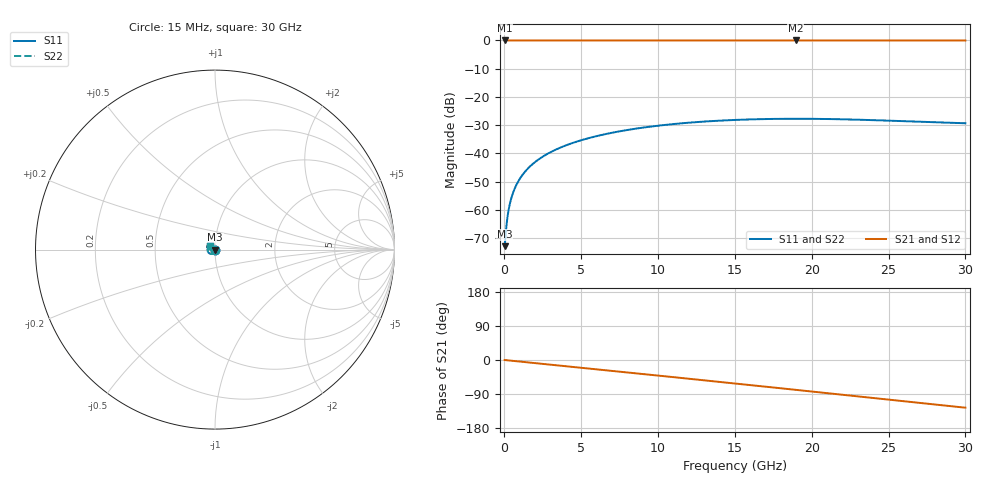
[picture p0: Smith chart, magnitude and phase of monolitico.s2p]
! S parameter file generated by ana
#  GHz  S  DB  R  50
! frequency  S11_dB  S11_deg  S21_dB  S21_deg  S12_dB  S12_deg  S22_dB  S22_deg
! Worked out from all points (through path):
!   2000 points, 15 MHz to 30 GHz, reference 50 ohm
!   highest |S21| = 0.00 dB at 30 MHz (marker M1); lowest = 0.0 dB at 18.96 GHz (marker M2)
!   group delay of S21, straight-line fit = 11.7 ps
!   lowest |S11| = -72.9 dB at 15 MHz (marker M3), VSWR 1.00, Z = 50 - j0.00532 ohm
!   |S11| at or under -10 dB: start of sweep to end of sweep
!   |S22| runs from -72.9 to -27.7 dB; largest |S21 - S12| = 0
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0.015  -72.87 -13.5  -0.00 -0.1  -0.00 -0.1  -72.87 -166.6
0.03  -72.22 -25.7  -0.00 -0.1  -0.00 -0.1  -72.22 -154.5
0.105  -67.30 -59.6  -0.00 -0.4  -0.00 -0.4  -67.30 -121.2
0.27  -60.19 -78.1  -0.00 -1.1  -0.00 -1.1  -60.19 -104.2
0.36  -57.79 -81.6  -0.00 -1.5  -0.00 -1.5  -57.79 -101.3
0.465  -55.62 -84.2  -0.00 -1.9  -0.00 -1.9  -55.62 -99.6
0.615  -53.22 -86.7  -0.00 -2.5  -0.00 -2.5  -53.22 -98.3
0.795  -51.01 -88.7  -0.00 -3.2  -0.00 -3.2  -51.01 -97.8
1.245  -47.14 -92.2  -0.00 -5.1  -0.00 -5.1  -47.14 -98.0
1.89  -43.55 -95.8  -0.00 -7.7  -0.00 -7.7  -43.55 -99.6
2.715  -40.45 -99.7  -0.00 -11.1  -0.00 -11.1  -40.45 -102.5
3.75  -37.72 -104.3  -0.00 -15.3  -0.00 -15.3  -37.72 -106.3
5.025  -35.31 -109.8  -0.00 -20.6  -0.00 -20.6  -35.31 -111.3
7.275  -32.41 -119.2  -0.00 -29.8  -0.00 -29.8  -32.41 -120.4
10.02  -30.18 -130.7  -0.00 -41.2  -0.00 -41.2  -30.18 -131.6
15.015  -28.15 -151.6  -0.01 -62.0  -0.01 -62.0  -28.15 -152.4
18.96  -27.74 -168.4  -0.01 -78.7  -0.01 -78.7  -27.74 -169.1
20.01  -27.76 -172.8  -0.01 -83.2  -0.01 -83.2  -27.76 -173.6
22.5  -27.99 176.5  -0.01 -93.8  -0.01 -93.8  -27.99 175.9
25.005  -28.41 165.7  -0.01 -104.6  -0.01 -104.6  -28.41 165.2
27.39  -28.89 155.3  -0.01 -114.7  -0.01 -114.7  -28.89 155.2
30  -29.33 144.0  -0.01 -125.9  -0.01 -125.9  -29.33 144.3
